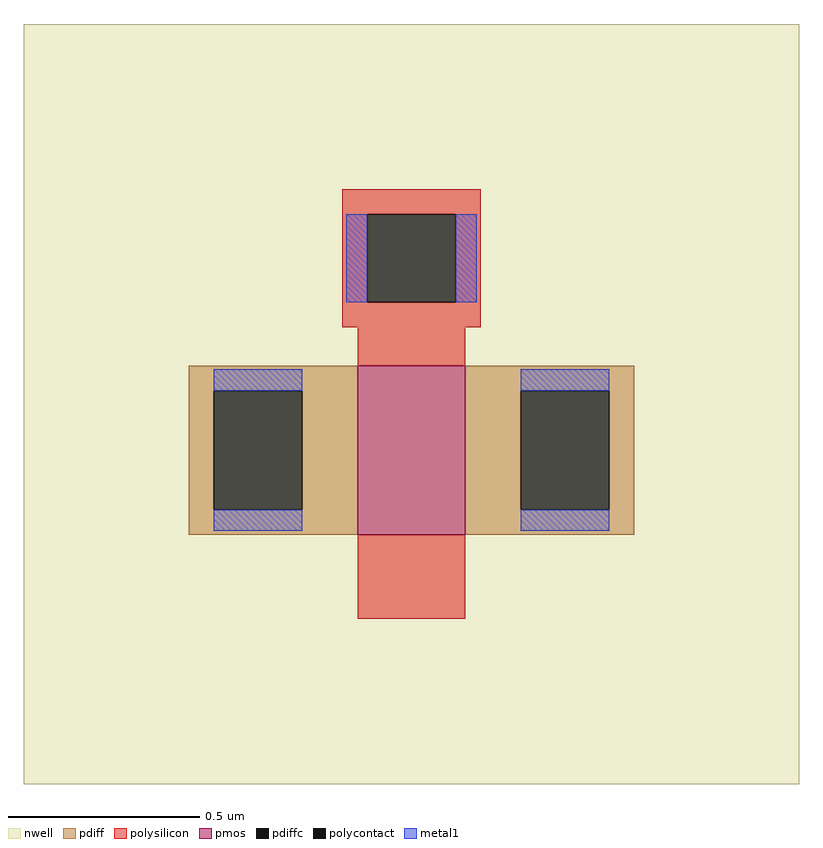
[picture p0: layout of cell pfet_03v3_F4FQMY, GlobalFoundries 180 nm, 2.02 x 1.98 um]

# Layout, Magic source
magic
tech gf180mcuC
magscale 1 10
<< nwell >>
rect -202 -198 202 198
<< pmos >>
rect -28 -68 28 20
<< pdiff >>
rect -116 7 -28 20
rect -116 -55 -103 7
rect -57 -55 -28 7
rect -116 -68 -28 -55
rect 28 7 116 20
rect 28 -55 57 7
rect 103 -55 116 7
rect 28 -68 116 -55
<< pdiffc >>
rect -103 -55 -57 7
rect 57 -55 103 7
<< polysilicon >>
rect -36 99 36 112
rect -36 53 -23 99
rect 23 53 36 99
rect -36 40 36 53
rect -28 20 28 40
rect -28 -112 28 -68
<< polycontact >>
rect -23 53 23 99
<< metal1 >>
rect -34 53 -23 99
rect 23 53 34 99
rect -103 7 -57 18
rect -103 -66 -57 -55
rect 57 7 103 18
rect 57 -66 103 -55
<< properties >>
string gencell pfet_03v3
string library gf180mcu
string parameters w 0.44 l 0.28 m 1 nf 1 diffcov 100 polycov 100 guard 0 glc 0 grc 0 gtc 0 gbc 0 tbcov 100 rlcov 100 topc 1 botc 0 poverlap 0 doverlap 0 lmin 0.28 wmin 0.22 class mosfet full_metal 0 compatible {pfet_03v3 pfet_05v0 pfet_06v0}
<< end >>
